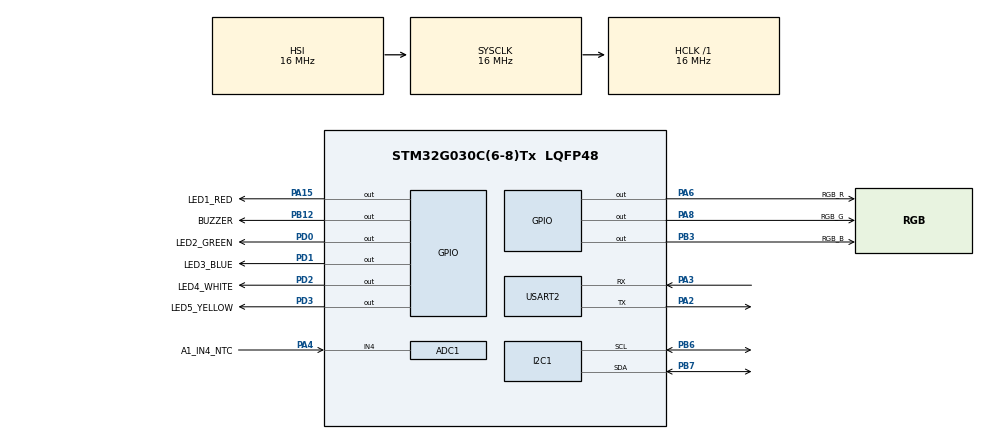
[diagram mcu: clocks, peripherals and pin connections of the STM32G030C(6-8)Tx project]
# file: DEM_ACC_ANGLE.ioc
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ADC1.Channel-0\#ChannelRegularConversion=ADC_CHANNEL_4
ADC1.NbrOfConversionFlag=1
ADC1.Rank-0\#ChannelRegularConversion=1
ADC1.SamplingTime-0\#ChannelRegularConversion=ADC_SAMPLINGTIME_COMMON_1
ADC1.SelectedChannel=ADC_CHANNEL_4
ADC1.master=1
I2C1.Timing=0x00503D58
Mcu.Family=STM32G0
Mcu.Name=STM32G030C(6-8)Tx
Mcu.Package=LQFP48
PA13.Mode=Serial_Wire
PA13.Signal=SYS_SWDIO
PA14-BOOT0.Mode=Serial_Wire
PA14-BOOT0.Signal=SYS_SWCLK
PA15.GPIO_Label=LED1_RED
PA15.Signal=GPIO_Output
PA2.Mode=Asynchronous
PA2.Signal=USART2_TX
PA3.Mode=Asynchronous
PA3.Signal=USART2_RX
PA4.GPIO_Label=A1_IN4_NTC
PA4.Mode=IN4
PA4.Signal=ADC1_IN4
PA6.GPIO_Label=RGB_R
PA6.Signal=GPIO_Output
PA8.GPIO_Label=RGB_G
PA8.Signal=GPIO_Output
PB12.GPIO_Label=BUZZER
PB12.Signal=GPIO_Output
PB3.GPIO_Label=RGB_B
PB3.Signal=GPIO_Output
PB6.Mode=I2C
PB6.Signal=I2C1_SCL
PB7.Mode=I2C
PB7.Signal=I2C1_SDA
PD0.GPIO_Label=LED2_GREEN
PD0.Signal=GPIO_Output
PD1.GPIO_Label=LED3_BLUE
PD1.Signal=GPIO_Output
PD2.GPIO_Label=LED4_WHITE
PD2.Signal=GPIO_Output
PD3.GPIO_Label=LED5_YELLOW
PD3.Signal=GPIO_Output
PF0-OSC_IN\ (PF0).Mode=HSE-External-Oscillator
PF0-OSC_IN\ (PF0).Signal=RCC_OSC_IN
PF1-OSC_OUT\ (PF1).Mode=HSE-External-Oscillator
PF1-OSC_OUT\ (PF1).Signal=RCC_OSC_OUT
ProjectManager.HeapSize=0x200
ProjectManager.StackSize=0x400
ProjectManager.TargetToolchain=STM32CubeIDE
RCC.AHBFreq_Value=16000000
RCC.CortexFreq_Value=16000000
RCC.EXTERNAL_CLOCK_VALUE=12288000
RCC.HCLKFreq_Value=16000000
RCC.HSE_VALUE=8000000
RCC.HSI_VALUE=16000000
RCC.LSE_VALUE=32768
RCC.SYSCLKFreq_VALUE=16000000
RCC.VCOOutputFreq_Value=128000000
USART2.VirtualMode-Asynchronous=VM_ASYNC
VP_RTC_VS_RTC_Activate.Mode=RTC_Enabled
board=custom

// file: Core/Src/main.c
/* USER CODE BEGIN Header */
/**
 ******************************************************************************
 * @file           : main.c
 * @brief          : Main program body
 ******************************************************************************
 * @attention
 *
 * Copyright (c) 2025 STMicroelectronics.
 * All rights reserved.
 *
 * This software is licensed under terms that can be found in the LICENSE file
 * in the root directory of this software component.
 * If no LICENSE file comes with this software, it is provided AS-IS.
 *
 ******************************************************************************
 */
/* USER CODE END Header */
#include "main.h"

/* USER CODE BEGIN Includes */
#include "lis2dw12_reg.h"
#include "ssd1306.h"
#include "stdio.h"
#include "string.h"
#include "ssd1306_tests.h"
#include "DigitalInputOutputs.h"
#include <math.h>
double Termistor(uint32_t analogValue) {
	double temperature;
	uint32_t adcval = 4096 - analogValue;

	temperature = log((adcval * 10000) / (4095 - adcval));
	temperature = 1
			/ (0.001129148
					+ (0.000234125
							+ (0.0000000876741 * temperature * temperature))
							* temperature);
	temperature = temperature - 273.15;
	return temperature;
}
/* USER CODE END Includes */

/* USER CODE BEGIN PTD */
uint8_t counter = 0;
uint8_t rgbcounter = 0;
double Temp1;
/* USER CODE END PTD */

/* USER CODE BEGIN PM */
#define 	SENSOR_BUS 	hi2c1
#define 	BOOT_TIME 20 //ms
/* USER CODE END PM */

ADC_HandleTypeDef hadc1;

I2C_HandleTypeDef hi2c1;

RTC_HandleTypeDef hrtc;

UART_HandleTypeDef huart2;

/* USER CODE BEGIN PV */
volatile uint64_t SYSTickTimer = 0; //Sistemin zamanlayıcısının (SysTick) sayaç değeri için kullanılır. Zamanlayıcı tabanlı olayları izlemek için kullanılır.

stmdev_ctx_t dev_ctx; // Bir sensör veya cihazla ilgili işlemleri yönetmek için kullanılan bir yapı.

static int16_t data_raw_acceleration[3]; // İvmeölçerden gelen ham ivme verilerini tutar.
static float acceleration_mg[3]; //Ham ivme verilerini milig cinsine çevirip saklar
static uint8_t whoamI, rst; //Bir sensörün veya cihazın sıfırlama durumunu izlemek için kullanılır.
SystemClockTimer_t SysClkTim;  // Gerçek tanımlama burada!
/* USER CODE END PV */

void SystemClock_Config(void);
static void MX_GPIO_Init(void);
static void MX_RTC_Init(void);
static void MX_ADC1_Init(void);
static void MX_I2C1_Init(void);
static void MX_USART2_UART_Init(void);
/* USER CODE BEGIN PFP */
static int32_t platform_write(void *handle, uint8_t reg, const uint8_t *bufp,
		uint16_t len);
static int32_t platform_read(void *handle, uint8_t reg, uint8_t *bufp,
		uint16_t len);

typedef struct {
	float roll;
	float pitch;
} Angles;
Angles angle;
Angles calculateAngles(float x, float y, float z) {
	Angles angles;
	angles.roll = atan2(y, z) * 180.0 / M_PI;
	angles.pitch = atan2(-x, sqrt(y * y + z * z)) * 180.0 / M_PI;

    // Negatif açıyı 0-360 arasına getir
    if (angles.roll < 0)
        angles.roll += 360;
    if (angles.pitch < 0)
        angles.pitch += 360;

	return angles;

}

/* USER CODE END PFP */

/* USER CODE BEGIN 0 */
char buffer[50];  // Yeterince büyük bir buffer ayır
HAL_StatusTypeDef ret = HAL_ERROR; //ret değişkeni, HAL fonksiyonlarının sonuçlarını kontrol etmek için kullanılır.
uint8_t rec_buf[10] = { 0 }; //rec_buf, veri almak veya iletmek için kullanılan bir tamponu temsil eder.
volatile uint32_t adcValues[10]; //adcValues, ADC'den alınan verileri saklamak için kullanılan bir dizi olup, volatile anahtar kelimesi ile donanım tarafından değişebileceğini belirtir.
/* USER CODE END 0 */

int main(void)
{

  /* MCU Configuration--------------------------------------------------------*/

  /* Reset of all peripherals, Initializes the Flash interface and the Systick. */
  HAL_Init();

  /* Configure the system clock */
  SystemClock_Config();

  /* Initialize all configured peripherals */
  MX_GPIO_Init();
  MX_RTC_Init();
  MX_ADC1_Init();
  MX_I2C1_Init();
  MX_USART2_UART_Init();
  /* USER CODE BEGIN 2 */

	dev_ctx.write_reg = platform_write;
	dev_ctx.read_reg = platform_read;
	dev_ctx.handle = &SENSOR_BUS;

	lis2dw12_device_id_get(&dev_ctx, &whoamI);
	lis2dw12_reset_set(&dev_ctx, PROPERTY_ENABLE);

	do {
		lis2dw12_reset_get(&dev_ctx, &rst);
	} while (rst);

	/* Enable Block Data Update */
	lis2dw12_block_data_update_set(&dev_ctx, PROPERTY_ENABLE);
	/* Set full scale */
	lis2dw12_full_scale_set(&dev_ctx, LIS2DW12_2g);
	/* Configure filtering chain
	 * Accelerometer - filter path / bandwidth
	 */
	lis2dw12_filter_path_set(&dev_ctx, LIS2DW12_LPF_ON_OUT);
	lis2dw12_filter_bandwidth_set(&dev_ctx, LIS2DW12_ODR_DIV_4);
	/* Configure power mode */
	lis2dw12_power_mode_set(&dev_ctx, LIS2DW12_HIGH_PERFORMANCE);
	/* Set Output Data Rate */
	lis2dw12_data_rate_set(&dev_ctx, LIS2DW12_XL_ODR_25Hz);
  /* USER CODE END 2 */

  /* Infinite loop */
  /* USER CODE BEGIN WHILE */
	while (1) {

		if (SysClkTim._750msn == 1)  // 500 ms aralıkla veri okuma
				{
		uint8_t reg;
		/* Read output only if new value is available */
		lis2dw12_flag_data_ready_get(&dev_ctx, &reg);

			/* Read output only if new value is available */
			lis2dw12_flag_data_ready_get(&dev_ctx, &reg);

			if (reg) {
				/* Read acceleration data */
				memset(data_raw_acceleration, 0, sizeof(data_raw_acceleration));
				lis2dw12_acceleration_raw_get(&dev_ctx, data_raw_acceleration); // Accelerometer'dan veri okuma
				acceleration_mg[0] = lis2dw12_from_fs2_to_mg(
						data_raw_acceleration[0]);
				acceleration_mg[1] = lis2dw12_from_fs2_to_mg(
						data_raw_acceleration[1]);
				acceleration_mg[2] = lis2dw12_from_fs2_to_mg(
						data_raw_acceleration[2]);
			}
		}
		if (SysClkTim._750msn == 1) {
			HAL_ADC_Start(&hadc1);
			HAL_ADC_PollForConversion(&hadc1, 50); //reading values from the Temperature sensor with ADC
			adcValues[2] = HAL_ADC_GetValue90,(&hadc1);
			HAL_ADC_Stop(&hadc1);
			Temp1 = Termistor(adcValues[2]) - 10;
		}

		angle = calculateAngles(acceleration_mg[1], acceleration_mg[0],
				acceleration_mg[2]);

		if (SysClkTim._750msn == 1)  // 500 ms aralıkla veri okuma
				{
			if ((int) angle.pitch == 0 && (int) angle.roll == 0) {
				HAL_GPIO_WritePin(GPIOD, GPIO_PIN_2, Active);
				HAL_GPIO_WritePin(GPIOD, GPIO_PIN_1, Active);
			} else if ((int) angle.pitch == 0 && (int) angle.roll != 0) {
				HAL_GPIO_WritePin(GPIOD, GPIO_PIN_2, Active);
				HAL_GPIO_WritePin(GPIOD, GPIO_PIN_1, Passive);
			} else if ((int) angle.pitch != 0 && (int) angle.roll == 0) {
				HAL_GPIO_WritePin(GPIOD, GPIO_PIN_2, Passive);
				HAL_GPIO_WritePin(GPIOD, GPIO_PIN_1, Active);
			} else {
				HAL_GPIO_WritePin(GPIOD, GPIO_PIN_2, Passive);
				HAL_GPIO_WritePin(GPIOD, GPIO_PIN_1, Passive);
			}
		}

	     // Verileri alt alta gelecek şekilde formatla
	        sprintf(buffer,
	                "Roll  Angle:%f\n"
	                "Pitch Angle:%f\n",
	                angle.roll,
	                angle.pitch);

		HAL_UART_Transmit(&huart2, (uint8_t*)buffer, strlen(buffer), HAL_MAX_DELAY);
		HAL_Delay(250);
    /* USER CODE END WHILE */

	}
}

void SystemClock_Config(void)
{
  RCC_OscInitTypeDef RCC_OscInitStruct = {0};
  RCC_ClkInitTypeDef RCC_ClkInitStruct = {0};

  /** Configure the main internal regulator output voltage
  */
  HAL_PWREx_ControlVoltageScaling(PWR_REGULATOR_VOLTAGE_SCALE1);

  /** Initializes the RCC Oscillators according to the specified parameters
  * in the RCC_OscInitTypeDef structure.
  */
  RCC_OscInitStruct.OscillatorType = RCC_OSCILLATORTYPE_HSI|RCC_OSCILLATORTYPE_LSI;
  RCC_OscInitStruct.HSIState = RCC_HSI_ON;
  RCC_OscInitStruct.HSIDiv = RCC_HSI_DIV1;
  RCC_OscInitStruct.HSICalibrationValue = RCC_HSICALIBRATION_DEFAULT;
  RCC_OscInitStruct.LSIState = RCC_LSI_ON;
  RCC_OscInitStruct.PLL.PLLState = RCC_PLL_NONE;
  if (HAL_RCC_OscConfig(&RCC_OscInitStruct) != HAL_OK)
  {
    Error_Handler();
  }

  /** Initializes the CPU, AHB and APB buses clocks
  */
  RCC_ClkInitStruct.ClockType = RCC_CLOCKTYPE_HCLK|RCC_CLOCKTYPE_SYSCLK
                              |RCC_CLOCKTYPE_PCLK1;
  RCC_ClkInitStruct.SYSCLKSource = RCC_SYSCLKSOURCE_HSI;
  RCC_ClkInitStruct.AHBCLKDivider = RCC_SYSCLK_DIV1;
  RCC_ClkInitStruct.APB1CLKDivider = RCC_HCLK_DIV1;

  if (HAL_RCC_ClockConfig(&RCC_ClkInitStruct, FLASH_LATENCY_0) != HAL_OK)
  {
    Error_Handler();
  }
}

static void MX_ADC1_Init(void)
{

  ADC_ChannelConfTypeDef sConfig = {0};

  /** Configure the global features of the ADC (Clock, Resolution, Data Alignment and number of conversion)
  */
  hadc1.Instance = ADC1;
  hadc1.Init.ClockPrescaler = ADC_CLOCK_SYNC_PCLK_DIV2;
  hadc1.Init.Resolution = ADC_RESOLUTION_12B;
  hadc1.Init.DataAlign = ADC_DATAALIGN_RIGHT;
  hadc1.Init.ScanConvMode = ADC_SCAN_DISABLE;
  hadc1.Init.EOCSelection = ADC_EOC_SINGLE_CONV;
  hadc1.Init.LowPowerAutoWait = DISABLE;
  hadc1.Init.LowPowerAutoPowerOff = DISABLE;
  hadc1.Init.ContinuousConvMode = DISABLE;
  hadc1.Init.NbrOfConversion = 1;
  hadc1.Init.DiscontinuousConvMode = DISABLE;
  hadc1.Init.ExternalTrigConv = ADC_SOFTWARE_START;
  hadc1.Init.ExternalTrigConvEdge = ADC_EXTERNALTRIGCONVEDGE_NONE;
  hadc1.Init.DMAContinuousRequests = DISABLE;
  hadc1.Init.Overrun = ADC_OVR_DATA_PRESERVED;
  hadc1.Init.SamplingTimeCommon1 = ADC_SAMPLETIME_1CYCLE_5;
  hadc1.Init.SamplingTimeCommon2 = ADC_SAMPLETIME_1CYCLE_5;
  hadc1.Init.OversamplingMode = DISABLE;
  hadc1.Init.TriggerFrequencyMode = ADC_TRIGGER_FREQ_HIGH;
  if (HAL_ADC_Init(&hadc1) != HAL_OK)
  {
    Error_Handler();
  }

  /** Configure Regular Channel
  */
  sConfig.Channel = ADC_CHANNEL_4;
  sConfig.Rank = ADC_REGULAR_RANK_1;
  sConfig.SamplingTime = ADC_SAMPLINGTIME_COMMON_1;
  if (HAL_ADC_ConfigChannel(&hadc1, &sConfig) != HAL_OK)
  {
    Error_Handler();
  }

}

static void MX_I2C1_Init(void)
{

  hi2c1.Instance = I2C1;
  hi2c1.Init.Timing = 0x00503D58;
  hi2c1.Init.OwnAddress1 = 0;
  hi2c1.Init.AddressingMode = I2C_ADDRESSINGMODE_7BIT;
  hi2c1.Init.DualAddressMode = I2C_DUALADDRESS_DISABLE;
  hi2c1.Init.OwnAddress2 = 0;
  hi2c1.Init.OwnAddress2Masks = I2C_OA2_NOMASK;
  hi2c1.Init.GeneralCallMode = I2C_GENERALCALL_DISABLE;
  hi2c1.Init.NoStretchMode = I2C_NOSTRETCH_DISABLE;
  if (HAL_I2C_Init(&hi2c1) != HAL_OK)
  {
    Error_Handler();
  }

  /** Configure Analogue filter
  */
  if (HAL_I2CEx_ConfigAnalogFilter(&hi2c1, I2C_ANALOGFILTER_ENABLE) != HAL_OK)
  {
    Error_Handler();
  }

  /** Configure Digital filter
  */
  if (HAL_I2CEx_ConfigDigitalFilter(&hi2c1, 0) != HAL_OK)
  {
    Error_Handler();
  }

}

static void MX_RTC_Init(void)
{

  /** Initialize RTC Only
  */
  hrtc.Instance = RTC;
  hrtc.Init.HourFormat = RTC_HOURFORMAT_24;
  hrtc.Init.AsynchPrediv = 127;
  hrtc.Init.SynchPrediv = 255;
  hrtc.Init.OutPut = RTC_OUTPUT_DISABLE;
  hrtc.Init.OutPutRemap = RTC_OUTPUT_REMAP_NONE;
  hrtc.Init.OutPutPolarity = RTC_OUTPUT_POLARITY_HIGH;
  hrtc.Init.OutPutType = RTC_OUTPUT_TYPE_OPENDRAIN;
  hrtc.Init.OutPutPullUp = RTC_OUTPUT_PULLUP_NONE;
  if (HAL_RTC_Init(&hrtc) != HAL_OK)
  {
    Error_Handler();
  }

}

static void MX_USART2_UART_Init(void)
{

  huart2.Instance = USART2;
  huart2.Init.BaudRate = 115200;
  huart2.Init.WordLength = UART_WORDLENGTH_8B;
  huart2.Init.StopBits = UART_STOPBITS_1;
  huart2.Init.Parity = UART_PARITY_NONE;
  huart2.Init.Mode = UART_MODE_TX_RX;
  huart2.Init.HwFlowCtl = UART_HWCONTROL_NONE;
  huart2.Init.OverSampling = UART_OVERSAMPLING_16;
  huart2.Init.OneBitSampling = UART_ONE_BIT_SAMPLE_DISABLE;
  huart2.Init.ClockPrescaler = UART_PRESCALER_DIV1;
  huart2.AdvancedInit.AdvFeatureInit = UART_ADVFEATURE_NO_INIT;
  if (HAL_UART_Init(&huart2) != HAL_OK)
  {
    Error_Handler();
  }

}

static void MX_GPIO_Init(void)
{
  GPIO_InitTypeDef GPIO_InitStruct = {0};

  /* GPIO Ports Clock Enable */
  __HAL_RCC_GPIOF_CLK_ENABLE();
  __HAL_RCC_GPIOA_CLK_ENABLE();
  __HAL_RCC_GPIOB_CLK_ENABLE();
  __HAL_RCC_GPIOD_CLK_ENABLE();

  /*Configure GPIO pin Output Level */
  HAL_GPIO_WritePin(GPIOA, RGB_R_Pin|RGB_G_Pin|LED1_RED_Pin, GPIO_PIN_RESET);

  /*Configure GPIO pin Output Level */
  HAL_GPIO_WritePin(GPIOB, BUZZER_Pin|RGB_B_Pin, GPIO_PIN_RESET);

  /*Configure GPIO pin Output Level */
  HAL_GPIO_WritePin(GPIOD, LED2_GREEN_Pin|LED3_BLUE_Pin|LED4_WHITE_Pin|LED5_YELLOW_Pin, GPIO_PIN_RESET);

  /*Configure GPIO pins : RGB_R_Pin RGB_G_Pin LED1_RED_Pin */
  GPIO_InitStruct.Pin = RGB_R_Pin|RGB_G_Pin|LED1_RED_Pin;
  GPIO_InitStruct.Mode = GPIO_MODE_OUTPUT_PP;
  GPIO_InitStruct.Pull = GPIO_NOPULL;
  GPIO_InitStruct.Speed = GPIO_SPEED_FREQ_LOW;
  HAL_GPIO_Init(GPIOA, &GPIO_InitStruct);

  /*Configure GPIO pins : BUZZER_Pin RGB_B_Pin */
  GPIO_InitStruct.Pin = BUZZER_Pin|RGB_B_Pin;
  GPIO_InitStruct.Mode = GPIO_MODE_OUTPUT_PP;
  GPIO_InitStruct.Pull = GPIO_NOPULL;
  GPIO_InitStruct.Speed = GPIO_SPEED_FREQ_LOW;
  HAL_GPIO_Init(GPIOB, &GPIO_InitStruct);

  /*Configure GPIO pins : LED2_GREEN_Pin LED3_BLUE_Pin LED4_WHITE_Pin LED5_YELLOW_Pin */
  GPIO_InitStruct.Pin = LED2_GREEN_Pin|LED3_BLUE_Pin|LED4_WHITE_Pin|LED5_YELLOW_Pin;
  GPIO_InitStruct.Mode = GPIO_MODE_OUTPUT_PP;
  GPIO_InitStruct.Pull = GPIO_NOPULL;
  GPIO_InitStruct.Speed = GPIO_SPEED_FREQ_LOW;
  HAL_GPIO_Init(GPIOD, &GPIO_InitStruct);

}

/* USER CODE BEGIN 4 */
// SysTick Zamanlayıcı Geri Çağırma Fonksiyonu
void HAL_SYSTICK_Callback(void) {
	SYSTickTimer++;

	if (SYSTickTimer % 1 == 0) {
		SysClkTim._1msn = 1;
	}
	if (SYSTickTimer % 10 == 0) {
		SysClkTim._10msn = 1;
	}
	if (SYSTickTimer % 50 == 0) {
		SysClkTim._50msn = 1;
	}
	if (SYSTickTimer % 100 == 0) {
		SysClkTim._100msn = 1;
	}
	if (SYSTickTimer % 250 == 0) {
		SysClkTim._250msn = 1;
	}
	if (SYSTickTimer % 500 == 0) {
		SysClkTim._500msn = 1;
	}
	if (SYSTickTimer % 750 == 0) {
		SysClkTim._750msn = 1;
	}
	if (SYSTickTimer % 1000 == 0) {
		SysClkTim._1sn = 1;
	}
	if (SYSTickTimer % 2000 == 0) {
		SysClkTim._2sn = 1;
	}
	if (SYSTickTimer % 5000 == 0) {
		SysClkTim._5sn = 1;
	}

}
//platform_write ve platform_read Fonksiyonları
static int32_t platform_write(void *handle, uint8_t reg, const uint8_t *bufp,
		uint16_t len) {
	HAL_I2C_Mem_Write(handle, LIS2DW12_I2C_ADD_H, reg,
	I2C_MEMADD_SIZE_8BIT, (uint8_t*) bufp, len, 1000);

	return 0;
}
/*
 * @brief Read generic device register (platform dependent)
 *
 * @param handle customizable argument. In this examples is used in
 * order to select the correct sensor bus handler.
 * @param reg register to read
 * @param bufp pointer to buffer that store the data read
 * @param len number of consecutive register to read
 *
 */static int32_t platform_read(void *handle, uint8_t reg, uint8_t *bufp,
		uint16_t len) {
	HAL_I2C_Mem_Read(handle, LIS2DW12_I2C_ADD_H, reg,
	I2C_MEMADD_SIZE_8BIT, bufp, len, 1000);
	return 0;
}
/* USER CODE END 4 */

void Error_Handler(void)
{
	__disable_irq();
	while (1) {
	}
}
